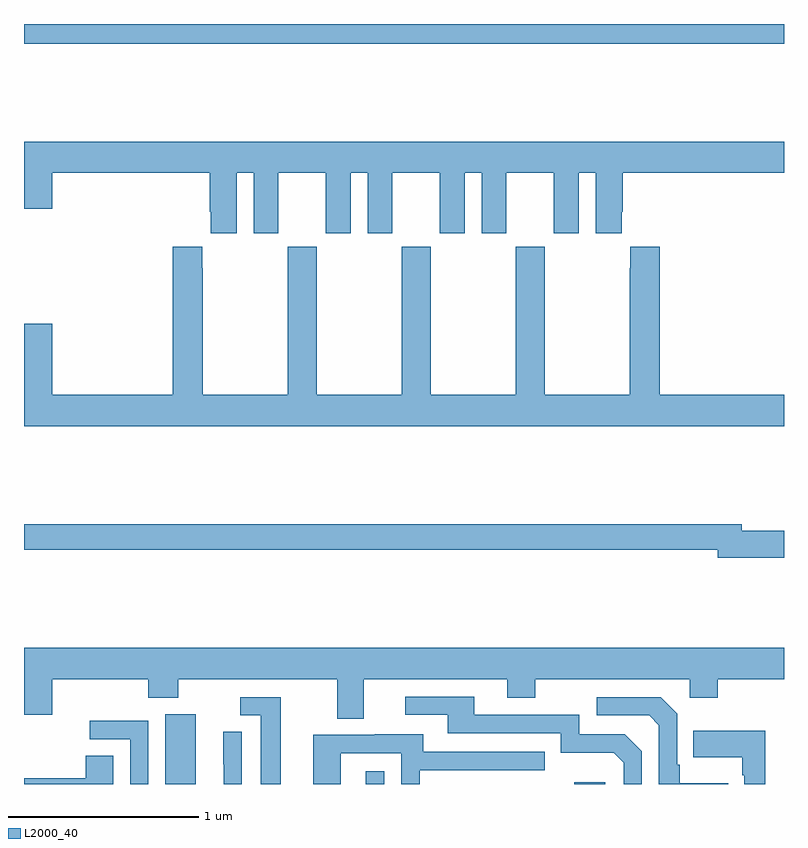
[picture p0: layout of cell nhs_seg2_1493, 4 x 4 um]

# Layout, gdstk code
import gdstk
lib = gdstk.Library(unit=1e-6, precision=1e-09)
def R(c, l, rs):  # rectangles x0, y0, x1, y1
    for r in rs: c.add(gdstk.rectangle(r[:2], r[2:], *l))
def P(c, l, *ps):  # polygons
    for p in ps: c.add(gdstk.Polygon(p, *l))
L2000_40 = (2000, 40)

nhs_seg2_1493 = lib.new_cell('nhs_seg2_1493')
R(nhs_seg2_1493, L2000_40, [(189.743,597.8,189.904,598.168), (190.799,597.8,190.896,597.868), (191.897,597.8,192.058,597.808), (189,601.696,193,601.8)])
P(nhs_seg2_1493, L2000_40, [(190.12,601.016),(190.208,601.016),(190.208,600.699),(190.339,600.699),(190.339,601.016),(190.589,601.016),(190.589,600.699),(190.72,600.699),(190.72,601.016),(190.808,601.016),(190.808,600.699),(190.939,600.699),(190.939,601.016),(191.189,601.016),(191.189,600.699),(191.32,600.699),(191.32,601.016),(191.408,601.016),(191.408,600.699),(191.539,600.699),(191.539,601.016),(191.789,601.016),(191.789,600.699),(191.92,600.699),(191.92,601.016),(192.008,601.016),(192.008,600.699),(192.145,600.699),(192.145,600.811),(192.152,600.811),(192.152,601.016),(193,601.016),(193,601.18),(189,601.18),(189,600.828),(189.148,600.828),(189.148,601.016),(189.977,601.016),(189.977,600.811),(189.983,600.811),(189.983,600.699),(190.12,600.699)],
  [(193,599.848),(192.347,599.848),(192.347,600.628),(192.191,600.628),(192.191,600.515),(192.187,600.515),(192.187,599.848),(191.742,599.848),(191.742,600.628),(191.587,600.628),(191.587,599.848),(191.142,599.848),(191.142,600.628),(190.987,600.628),(190.987,599.848),(190.542,599.848),(190.542,600.628),(190.387,600.628),(190.387,599.848),(189.942,599.848),(189.942,600.515),(189.937,600.515),(189.937,600.628),(189.782,600.628),(189.782,599.848),(189.148,599.848),(189.148,600.223),(189,600.223),(189,599.684),(193,599.684)],
  [(193,599.132),(192.778,599.132),(192.778,599.168),(189,599.168),(189,599.032),(192.65,599.032),(192.65,598.99),(193,598.99)],
  [(190.789,598.352),(191.543,598.352),(191.543,598.253),(191.691,598.253),(191.691,598.352),(192.504,598.352),(192.504,598.253),(192.651,598.253),(192.651,598.352),(193,598.352),(193,598.516),(189,598.516),(189,598.164),(189.148,598.164),(189.148,598.352),(189.653,598.352),(189.653,598.253),(189.813,598.253),(189.813,598.352),(190.649,598.352),(190.649,598.144),(190.789,598.144)],
  [(192.252,597.972),(192.162,598.062),(191.922,598.062),(191.922,598.164),(191.371,598.164),(191.371,598.26),(191.007,598.26),(191.007,598.164),(191.231,598.164),(191.231,598.068),(191.826,598.068),(191.826,597.965),(192.103,597.965),(192.156,597.912),(192.156,597.8),(192.252,597.8)],
  [(192.707,597.805),(192.451,597.805),(192.451,597.901),(192.438,597.901),(192.438,598.17),(192.351,598.257),(192.015,598.257),(192.015,598.161),(192.291,598.161),(192.342,598.11),(192.342,597.8),(192.707,597.8)],
  [(190.351,598.257),(190.137,598.257),(190.137,598.161),(190.247,598.161),(190.247,597.8),(190.351,597.8)],
  [(189.654,598.134),(189.345,598.134),(189.345,598.035),(189.558,598.035),(189.558,597.8),(189.654,597.8)],
  [(192.901,598.081),(192.523,598.081),(192.523,597.941),(192.78,597.941),(192.78,597.845),(192.792,597.845),(192.792,597.8),(192.901,597.8)],
  [(190.146,598.076),(190.049,598.076),(190.049,597.904),(190.052,597.904),(190.052,597.8),(190.146,597.8)],
  [(190.668,597.963),(190.986,597.963),(190.986,597.8),(191.082,597.8),(191.082,597.873),(191.741,597.873),(191.741,597.969),(191.101,597.969),(191.101,598.063),(190.847,598.063),(190.847,598.059),(190.523,598.059),(190.523,597.8),(190.668,597.8)],
  [(189.469,597.95),(189.326,597.95),(189.326,597.829),(189,597.829),(189,597.8),(189.469,597.8)])

lib.write_gds('nhs_seg2_1493.gds')
